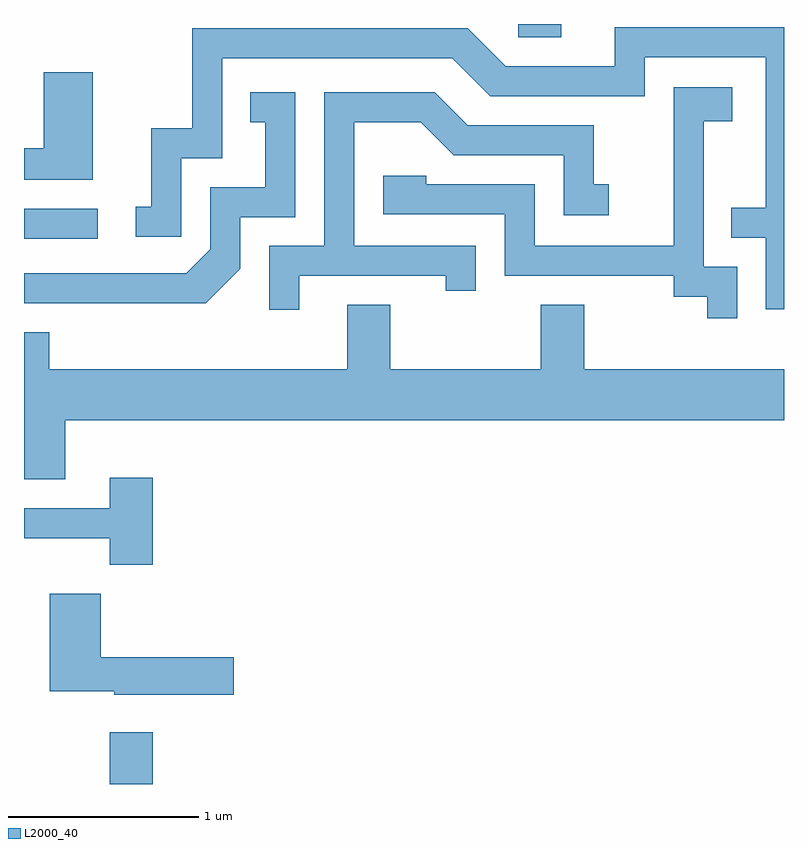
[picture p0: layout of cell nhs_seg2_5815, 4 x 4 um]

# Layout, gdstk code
import gdstk
lib = gdstk.Library(unit=1e-6, precision=1e-09)
def R(c, l, rs):  # rectangles x0, y0, x1, y1
    for r in rs: c.add(gdstk.rectangle(r[:2], r[2:], *l))
def P(c, l, *ps):  # polygons
    for p in ps: c.add(gdstk.Polygon(p, *l))
L2000_40 = (2000, 40)

nhs_seg2_5815 = lib.new_cell('nhs_seg2_5815')
R(nhs_seg2_5815, L2000_40, [(358.061,979.802,358.289,980.074), (357.611,982.671,357.998,982.829), (360.211,983.731,360.439,983.802)])
P(nhs_seg2_5815, L2000_40, [(361.611,983.784),(360.721,983.784),(360.721,983.579),(360.147,983.579),(359.947,983.779),(358.496,983.779),(358.496,983.254),(358.281,983.254),(358.281,982.839),(358.198,982.839),(358.198,982.681),(358.439,982.681),(358.439,983.096),(358.654,983.096),(358.654,983.621),(359.864,983.621),(360.064,983.421),(360.879,983.421),(360.879,983.626),(361.516,983.626),(361.516,982.834),(361.333,982.834),(361.333,982.676),(361.516,982.676),(361.516,982.301),(361.611,982.301)],
  [(357.974,983.549),(357.716,983.549),(357.716,983.149),(357.611,983.149),(357.611,982.981),(357.974,982.981)],
  [(361.364,982.524),(361.189,982.524),(361.189,983.291),(361.339,983.291),(361.339,983.469),(361.031,983.469),(361.031,982.634),(360.299,982.634),(360.299,982.959),(359.729,982.959),(359.729,983.004),(359.501,983.004),(359.501,982.801),(360.141,982.801),(360.141,982.476),(361.031,982.476),(361.031,982.366),(361.206,982.366),(361.206,982.253),(361.364,982.253)],
  [(358.749,982.514),(358.749,982.786),(359.039,982.786),(359.039,983.444),(358.803,983.444),(358.803,983.286),(358.881,983.286),(358.881,982.944),(358.591,982.944),(358.591,982.617),(358.464,982.489),(357.611,982.489),(357.611,982.331),(358.567,982.331)],
  [(359.059,982.476),(359.831,982.476),(359.831,982.398),(359.989,982.398),(359.989,982.634),(359.349,982.634),(359.349,983.286),(359.699,983.286),(359.874,983.111),(360.451,983.111),(360.451,982.796),(360.688,982.796),(360.688,982.959),(360.609,982.959),(360.609,983.269),(359.947,983.269),(359.772,983.444),(359.191,983.444),(359.191,982.634),(358.901,982.634),(358.901,982.298),(359.059,982.298)],
  [(357.829,981.716),(361.611,981.716),(361.611,981.984),(360.559,981.984),(360.559,982.324),(360.331,982.324),(360.331,981.984),(359.539,981.984),(359.539,982.324),(359.311,982.324),(359.311,981.984),(357.744,981.984),(357.744,982.179),(357.611,982.179),(357.611,981.406),(357.829,981.406)],
  [(358.289,981.414),(358.061,981.414),(358.061,981.254),(357.611,981.254),(357.611,981.096),(358.061,981.096),(358.061,980.956),(358.289,980.956)],
  [(358.714,980.469),(358.014,980.469),(358.014,980.804),(357.746,980.804),(357.746,980.291),(358.086,980.291),(358.086,980.271),(358.714,980.271)])

lib.write_gds('nhs_seg2_5815.gds')
